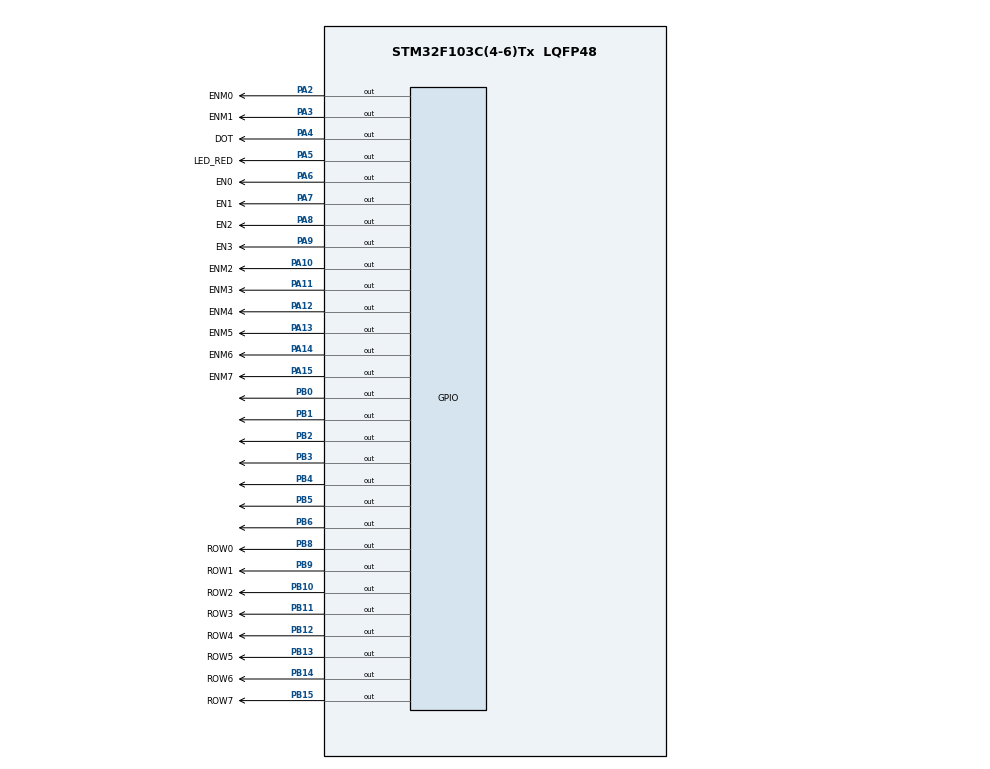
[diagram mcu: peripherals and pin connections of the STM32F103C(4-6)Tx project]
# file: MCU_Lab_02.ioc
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Mcu.Family=STM32F1
Mcu.Name=STM32F103C(4-6)Tx
Mcu.Package=LQFP48
NVIC.PriorityGroup=NVIC_PRIORITYGROUP_4
NVIC.TIM2_IRQn=true\:0\:0\:false\:false\:true\:true\:true\:true
PA10.GPIO_Label=ENM2
PA10.PinState=GPIO_PIN_RESET
PA10.Signal=GPIO_Output
PA11.GPIO_Label=ENM3
PA11.PinState=GPIO_PIN_RESET
PA11.Signal=GPIO_Output
PA12.GPIO_Label=ENM4
PA12.PinState=GPIO_PIN_RESET
PA12.Signal=GPIO_Output
PA13.GPIO_Label=ENM5
PA13.PinState=GPIO_PIN_RESET
PA13.Signal=GPIO_Output
PA14.GPIO_Label=ENM6
PA14.PinState=GPIO_PIN_RESET
PA14.Signal=GPIO_Output
PA15.GPIO_Label=ENM7
PA15.PinState=GPIO_PIN_RESET
PA15.Signal=GPIO_Output
PA2.GPIO_Label=ENM0
PA2.PinState=GPIO_PIN_RESET
PA2.Signal=GPIO_Output
PA3.GPIO_Label=ENM1
PA3.PinState=GPIO_PIN_RESET
PA3.Signal=GPIO_Output
PA4.GPIO_Label=DOT
PA4.PinState=GPIO_PIN_SET
PA4.Signal=GPIO_Output
PA5.GPIO_Label=LED_RED
PA5.PinState=GPIO_PIN_SET
PA5.Signal=GPIO_Output
PA6.GPIO_Label=EN0
PA6.PinState=GPIO_PIN_SET
PA6.Signal=GPIO_Output
PA7.GPIO_Label=EN1
PA7.PinState=GPIO_PIN_SET
PA7.Signal=GPIO_Output
PA8.GPIO_Label=EN2
PA8.PinState=GPIO_PIN_SET
PA8.Signal=GPIO_Output
PA9.GPIO_Label=EN3
PA9.PinState=GPIO_PIN_SET
PA9.Signal=GPIO_Output
PB0.PinState=GPIO_PIN_SET
PB0.Signal=GPIO_Output
PB1.PinState=GPIO_PIN_SET
PB1.Signal=GPIO_Output
PB10.GPIO_Label=ROW2
PB10.PinState=GPIO_PIN_SET
PB10.Signal=GPIO_Output
PB11.GPIO_Label=ROW3
PB11.PinState=GPIO_PIN_SET
PB11.Signal=GPIO_Output
PB12.GPIO_Label=ROW4
PB12.PinState=GPIO_PIN_SET
PB12.Signal=GPIO_Output
PB13.GPIO_Label=ROW5
PB13.PinState=GPIO_PIN_SET
PB13.Signal=GPIO_Output
PB14.GPIO_Label=ROW6
PB14.PinState=GPIO_PIN_SET
PB14.Signal=GPIO_Output
PB15.GPIO_Label=ROW7
PB15.PinState=GPIO_PIN_SET
PB15.Signal=GPIO_Output
PB2.PinState=GPIO_PIN_SET
PB2.Signal=GPIO_Output
PB3.PinState=GPIO_PIN_SET
PB3.Signal=GPIO_Output
PB4.PinState=GPIO_PIN_SET
PB4.Signal=GPIO_Output
PB5.PinState=GPIO_PIN_SET
PB5.Signal=GPIO_Output
PB6.PinState=GPIO_PIN_SET
PB6.Signal=GPIO_Output
PB8.GPIO_Label=ROW0
PB8.PinState=GPIO_PIN_SET
PB8.Signal=GPIO_Output
PB9.GPIO_Label=ROW1
PB9.PinState=GPIO_PIN_SET
PB9.Signal=GPIO_Output
ProjectManager.HeapSize=0x200
ProjectManager.StackSize=0x400
ProjectManager.TargetToolchain=STM32CubeIDE
RCC.APB1Freq_Value=8000000
RCC.APB2Freq_Value=8000000
TIM2.Period=9
TIM2.Prescaler=7999
VP_SYS_VS_ND.Mode=No_Debug
VP_TIM2_VS_ClockSourceINT.Mode=Internal
board=custom

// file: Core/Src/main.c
/* USER CODE BEGIN Header */
/**
  ******************************************************************************
  * @file           : main.c
  * @brief          : Main program body
  ******************************************************************************
  * @attention
  *
  * Copyright (c) 2025 STMicroelectronics.
  * All rights reserved.
  *
  * This software is licensed under terms that can be found in the LICENSE file
  * in the root directory of this software component.
  * If no LICENSE file comes with this software, it is provided AS-IS.
  *
  ******************************************************************************
  */
/* USER CODE END Header */
#include "main.h"

/* USER CODE BEGIN Includes */
#include "software_timer.h"
/* USER CODE END Includes */

TIM_HandleTypeDef htim2;

/* USER CODE BEGIN PV */
static uint8_t segPattern[10] =
{
    /* a b c d e f g */
    0b1111110, // 0: a b c d e f
    0b0110000, // 1: b c
    0b1101101, // 2: a b d e g
    0b1111001, // 3: a b c d g
    0b0110011, // 4: b c f g
    0b1011011, // 5: a c d f g
    0b1011111, // 6: a c d e f g
    0b1110000, // 7: a b c
    0b1111111, // 8: a b c d e f g
    0b1111011  // 9: a b c d f g
};

const int MAX_LED = 4;
int index_led = 0;
int led_buffer[4] = {1, 2, 3, 4};

int hour = 15;
int minute = 8;
int second = 50;

//Exercise 9
const int MAX_LED_MATRIX = 8;
int index_led_matrix = 0;
uint8_t matrix_buffer[8] = { 0 };

uint8_t font_A[8] = {
	0b00000000,
	0b00111111,
	0b01010000,
	0b10010000,
	0b10010000,
	0b01010000,
	0b00111111,
	0b00000000
};
int pos = 8;
/* USER CODE END PV */

void SystemClock_Config(void);
static void MX_GPIO_Init(void);
static void MX_TIM2_Init(void);
/* USER CODE BEGIN PFP */
void led_PA5_Toggle();
void display7SEG(int num);
void blinkDoubleDot();
void update7SEG(int index);
void updateClockBuffer();
void updateLEDMatrix(int index);
void scrollCharStep(uint8_t *);
/* USER CODE END PFP */

int main(void)
{

  /* MCU Configuration--------------------------------------------------------*/

  /* Reset of all peripherals, Initializes the Flash interface and the Systick. */
  HAL_Init();

  /* Configure the system clock */
  SystemClock_Config();

  /* Initialize all configured peripherals */
  MX_GPIO_Init();
  MX_TIM2_Init();
  /* USER CODE BEGIN 2 */
  HAL_TIM_Base_Start_IT(&htim2);
  /* USER CODE END 2 */

  /* Infinite loop */
  /* USER CODE BEGIN WHILE */
  setTimer(0, 1000);	//one second
  // set the frequency of 4 seven segment LEDs to 1Hz
  // 1Hz <=> 1s (f = 1/T)
  // 4 LEDs in 1s -> 1 LEDs in 250ms
  setTimer(1, 250);
  setTimer(2, 1000);
  setTimer(3, 50);
  setTimer(4, 1000);
  while (1)
  {
	if (isTimerExpired(0) == 1)
	{
		setTimer(0, 1000);
		led_PA5_Toggle();
		blinkDoubleDot();
	}

	if (isTimerExpired(1) == 1)
	{
		setTimer(1, 250);
		if (index_led >= MAX_LED)
			index_led = 0;
		update7SEG(index_led++);
	}

	if (isTimerExpired(2) == 1)
	{
		setTimer(2, 1000);
		second++;
		if (second >= 60)
		{
			second = 0;
			minute++;
		}
		if (minute >= 60)
		{
			minute = 0;
			hour++;
		}
		if (hour >= 24)
			hour = 0;
		updateClockBuffer();
	}

	if (isTimerExpired(3) == 1)
	{
		setTimer(3, 50);
		updateLEDMatrix(index_led_matrix);
		index_led_matrix++;
		if (index_led_matrix >= MAX_LED_MATRIX)
			index_led_matrix = 0;
	}

	if (isTimerExpired(4) == 1)
	{
		setTimer(4, 1000);
		scrollCharStep(font_A);
	}
    /* USER CODE END WHILE */

  }
}

void SystemClock_Config(void)
{
  RCC_OscInitTypeDef RCC_OscInitStruct = {0};
  RCC_ClkInitTypeDef RCC_ClkInitStruct = {0};

  /** Initializes the RCC Oscillators according to the specified parameters
  * in the RCC_OscInitTypeDef structure.
  */
  RCC_OscInitStruct.OscillatorType = RCC_OSCILLATORTYPE_HSI;
  RCC_OscInitStruct.HSIState = RCC_HSI_ON;
  RCC_OscInitStruct.HSICalibrationValue = RCC_HSICALIBRATION_DEFAULT;
  RCC_OscInitStruct.PLL.PLLState = RCC_PLL_NONE;
  if (HAL_RCC_OscConfig(&RCC_OscInitStruct) != HAL_OK)
  {
    Error_Handler();
  }

  /** Initializes the CPU, AHB and APB buses clocks
  */
  RCC_ClkInitStruct.ClockType = RCC_CLOCKTYPE_HCLK|RCC_CLOCKTYPE_SYSCLK
                              |RCC_CLOCKTYPE_PCLK1|RCC_CLOCKTYPE_PCLK2;
  RCC_ClkInitStruct.SYSCLKSource = RCC_SYSCLKSOURCE_HSI;
  RCC_ClkInitStruct.AHBCLKDivider = RCC_SYSCLK_DIV1;
  RCC_ClkInitStruct.APB1CLKDivider = RCC_HCLK_DIV1;
  RCC_ClkInitStruct.APB2CLKDivider = RCC_HCLK_DIV1;

  if (HAL_RCC_ClockConfig(&RCC_ClkInitStruct, FLASH_LATENCY_0) != HAL_OK)
  {
    Error_Handler();
  }
}

static void MX_TIM2_Init(void)
{

  TIM_ClockConfigTypeDef sClockSourceConfig = {0};
  TIM_MasterConfigTypeDef sMasterConfig = {0};

  htim2.Instance = TIM2;
  htim2.Init.Prescaler = 7999;
  htim2.Init.CounterMode = TIM_COUNTERMODE_UP;
  htim2.Init.Period = 9;
  htim2.Init.ClockDivision = TIM_CLOCKDIVISION_DIV1;
  htim2.Init.AutoReloadPreload = TIM_AUTORELOAD_PRELOAD_DISABLE;
  if (HAL_TIM_Base_Init(&htim2) != HAL_OK)
  {
    Error_Handler();
  }
  sClockSourceConfig.ClockSource = TIM_CLOCKSOURCE_INTERNAL;
  if (HAL_TIM_ConfigClockSource(&htim2, &sClockSourceConfig) != HAL_OK)
  {
    Error_Handler();
  }
  sMasterConfig.MasterOutputTrigger = TIM_TRGO_RESET;
  sMasterConfig.MasterSlaveMode = TIM_MASTERSLAVEMODE_DISABLE;
  if (HAL_TIMEx_MasterConfigSynchronization(&htim2, &sMasterConfig) != HAL_OK)
  {
    Error_Handler();
  }

}

static void MX_GPIO_Init(void)
{
  GPIO_InitTypeDef GPIO_InitStruct = {0};

  /* GPIO Ports Clock Enable */
  __HAL_RCC_GPIOA_CLK_ENABLE();
  __HAL_RCC_GPIOB_CLK_ENABLE();

  /*Configure GPIO pin Output Level */
  HAL_GPIO_WritePin(GPIOA, ENM0_Pin|ENM1_Pin|ENM2_Pin|ENM3_Pin
                          |ENM4_Pin|ENM5_Pin|ENM6_Pin|ENM7_Pin, GPIO_PIN_RESET);

  /*Configure GPIO pin Output Level */
  HAL_GPIO_WritePin(GPIOA, DOT_Pin|LED_RED_Pin|EN0_Pin|EN1_Pin
                          |EN2_Pin|EN3_Pin, GPIO_PIN_SET);

  /*Configure GPIO pin Output Level */
  HAL_GPIO_WritePin(GPIOB, GPIO_PIN_0|GPIO_PIN_1|GPIO_PIN_2|ROW2_Pin
                          |ROW3_Pin|ROW4_Pin|ROW5_Pin|ROW6_Pin
                          |ROW7_Pin|GPIO_PIN_3|GPIO_PIN_4|GPIO_PIN_5
                          |GPIO_PIN_6|ROW0_Pin|ROW1_Pin, GPIO_PIN_SET);

  /*Configure GPIO pins : ENM0_Pin ENM1_Pin DOT_Pin LED_RED_Pin
                           EN0_Pin EN1_Pin EN2_Pin EN3_Pin
                           ENM2_Pin ENM3_Pin ENM4_Pin ENM5_Pin
                           ENM6_Pin ENM7_Pin */
  GPIO_InitStruct.Pin = ENM0_Pin|ENM1_Pin|DOT_Pin|LED_RED_Pin
                          |EN0_Pin|EN1_Pin|EN2_Pin|EN3_Pin
                          |ENM2_Pin|ENM3_Pin|ENM4_Pin|ENM5_Pin
                          |ENM6_Pin|ENM7_Pin;
  GPIO_InitStruct.Mode = GPIO_MODE_OUTPUT_PP;
  GPIO_InitStruct.Pull = GPIO_NOPULL;
  GPIO_InitStruct.Speed = GPIO_SPEED_FREQ_LOW;
  HAL_GPIO_Init(GPIOA, &GPIO_InitStruct);

  /*Configure GPIO pins : PB0 PB1 PB2 ROW2_Pin
                           ROW3_Pin ROW4_Pin ROW5_Pin ROW6_Pin
                           ROW7_Pin PB3 PB4 PB5
                           PB6 ROW0_Pin ROW1_Pin */
  GPIO_InitStruct.Pin = GPIO_PIN_0|GPIO_PIN_1|GPIO_PIN_2|ROW2_Pin
                          |ROW3_Pin|ROW4_Pin|ROW5_Pin|ROW6_Pin
                          |ROW7_Pin|GPIO_PIN_3|GPIO_PIN_4|GPIO_PIN_5
                          |GPIO_PIN_6|ROW0_Pin|ROW1_Pin;
  GPIO_InitStruct.Mode = GPIO_MODE_OUTPUT_PP;
  GPIO_InitStruct.Pull = GPIO_NOPULL;
  GPIO_InitStruct.Speed = GPIO_SPEED_FREQ_LOW;
  HAL_GPIO_Init(GPIOB, &GPIO_InitStruct);

}

/* USER CODE BEGIN 4 */
void HAL_TIM_PeriodElapsedCallback(TIM_HandleTypeDef *htim)
{
	if (htim->Instance == TIM2)
		timerRun();
}

void led_PA5_Toggle()
{
	HAL_GPIO_TogglePin(LED_RED_GPIO_Port, LED_RED_Pin);
}

void display7SEG(int num)
{
	if (num < 0 || num >= 10)
		return;

	uint8_t seg = segPattern[num];
	// 7segledANODE -> active-low -> 0 = on and 1 = off
	// COM connected to VCC
	HAL_GPIO_WritePin(GPIOB, GPIO_PIN_0, !((seg >> 6) & 0x1));
	HAL_GPIO_WritePin(GPIOB, GPIO_PIN_1, !((seg >> 5) & 0x1)); // 0x11 & 1 = 3 & 1 = 1
	HAL_GPIO_WritePin(GPIOB, GPIO_PIN_2, !((seg >> 4) & 0x1));
	HAL_GPIO_WritePin(GPIOB, GPIO_PIN_3, !((seg >> 3) & 0x1));
	HAL_GPIO_WritePin(GPIOB, GPIO_PIN_4, !((seg >> 2) & 0x1));
	HAL_GPIO_WritePin(GPIOB, GPIO_PIN_5, !((seg >> 1) & 0x1));
	HAL_GPIO_WritePin(GPIOB, GPIO_PIN_6, !((seg >> 0) & 0x1));
}

void blinkDoubleDot()
{
	HAL_GPIO_TogglePin(DOT_GPIO_Port, DOT_Pin);
}

void update7SEG(int index)
{
	HAL_GPIO_WritePin(GPIOA, GPIO_PIN_6|GPIO_PIN_7|GPIO_PIN_8|GPIO_PIN_9, GPIO_PIN_SET);
	switch (index)
	{
	case 0:
		HAL_GPIO_WritePin(GPIOA, GPIO_PIN_6, GPIO_PIN_RESET);
		display7SEG(led_buffer[0]);
		break;
	case 1:
		HAL_GPIO_WritePin(GPIOA, GPIO_PIN_7, GPIO_PIN_RESET);
		display7SEG(led_buffer[1]);
		break;
	case 2:
		HAL_GPIO_WritePin(GPIOA, GPIO_PIN_8, GPIO_PIN_RESET);
		display7SEG(led_buffer[2]);
		break;
	case 3:
		HAL_GPIO_WritePin(GPIOA, GPIO_PIN_9, GPIO_PIN_RESET);
		display7SEG(led_buffer[3]);
		break;
	default:
		break;
	}
}

void updateClockBuffer()
{
	led_buffer[0] = hour / 10;
	led_buffer[1] = hour % 10;
	led_buffer[2] = minute / 10;
	led_buffer[3] = minute % 10;
}

void updateLEDMatrix(int index)
{
	HAL_GPIO_WritePin(GPIOA, ENM0_Pin|ENM1_Pin|ENM2_Pin|ENM3_Pin|
			ENM4_Pin|ENM5_Pin|ENM6_Pin|ENM7_Pin, GPIO_PIN_SET);

	uint8_t row_data = matrix_buffer[index];

	HAL_GPIO_WritePin(GPIOB, ROW0_Pin, !((row_data >> 7) & 0x1));
	HAL_GPIO_WritePin(GPIOB, ROW1_Pin, !((row_data >> 6) & 0x1));
	HAL_GPIO_WritePin(GPIOB, ROW2_Pin, !((row_data >> 5) & 0x1));
	HAL_GPIO_WritePin(GPIOB, ROW3_Pin, !((row_data >> 4) & 0x1));
	HAL_GPIO_WritePin(GPIOB, ROW4_Pin, !((row_data >> 3) & 0x1));
	HAL_GPIO_WritePin(GPIOB, ROW5_Pin, !((row_data >> 2) & 0x1));
	HAL_GPIO_WritePin(GPIOB, ROW6_Pin, !((row_data >> 1) & 0x1));
	HAL_GPIO_WritePin(GPIOB, ROW7_Pin, !((row_data >> 0) & 0x1));

	switch (index)
	{
	case 0:
		HAL_GPIO_WritePin(GPIOA, ENM0_Pin, GPIO_PIN_RESET);
		break;
	case 1:
		HAL_GPIO_WritePin(GPIOA, ENM1_Pin, GPIO_PIN_RESET);
		break;
	case 2:
		HAL_GPIO_WritePin(GPIOA, ENM2_Pin, GPIO_PIN_RESET);
		break;
	case 3:
		HAL_GPIO_WritePin(GPIOA, ENM3_Pin, GPIO_PIN_RESET);
		break;
	case 4:
		HAL_GPIO_WritePin(GPIOA, ENM4_Pin, GPIO_PIN_RESET);
		break;
	case 5:
		HAL_GPIO_WritePin(GPIOA, ENM5_Pin, GPIO_PIN_RESET);
		break;
	case 6:
		HAL_GPIO_WritePin(GPIOA, ENM6_Pin, GPIO_PIN_RESET);
		break;
	case 7:
		HAL_GPIO_WritePin(GPIOA, ENM7_Pin, GPIO_PIN_RESET);
		break;
	default:
		break;
	}
}

void scrollCharStep(uint8_t *charBitmap)
{
    for (int col = 0; col < 8; col++)
    {
        int srcCol = col - pos;
        if (srcCol >= 0 && srcCol < 8)
            matrix_buffer[col] = charBitmap[srcCol];
        else
            matrix_buffer[col] = 0x00;
    }
    pos--;
    if (pos < -8)
    	pos = 8; // lặp lại
}
/* USER CODE END 4 */

void Error_Handler(void)
{
  __disable_irq();
  while (1)
  {
  }
}
